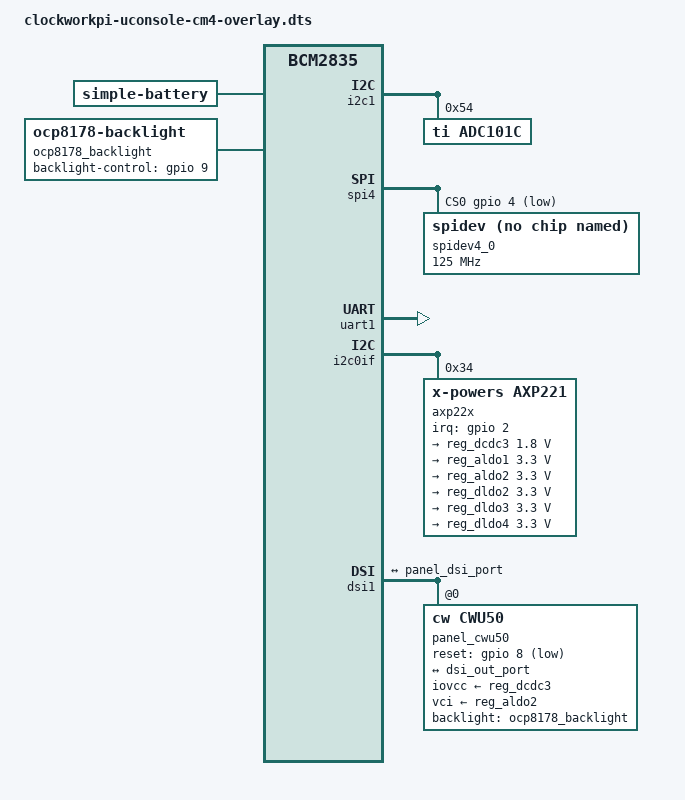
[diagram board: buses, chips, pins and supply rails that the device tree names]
// SPDX-License-Identifier: GPL-2.0-only
/dts-v1/;
/plugin/;

#include <dt-bindings/gpio/gpio.h>
#include <dt-bindings/interrupt-controller/irq.h>

/ {
	compatible = "brcm,bcm2835";

	/* uConsole ADC on the CM4 carrier I2C bus. */
	fragment@0 {
		target = <&i2c1>;

		__overlay__ {
			#address-cells = <1>;
			#size-cells = <0>;
			pinctrl-names = "default";
			pinctrl-0 = <&i2c1_pins>;
			status = "okay";

			adc101c: adc@54 {
				compatible = "ti,adc101c";
				reg = <0x54>;
				status = "okay";
			};
		};
	};

	/* Expansion SPI bus. */
	fragment@1 {
		target = <&spi4>;

		__overlay__ {
			pinctrl-names = "default";
			pinctrl-0 = <&spi4_pins &spi4_cs_pins>;
			cs-gpios = <&gpio 4 GPIO_ACTIVE_LOW>;
			status = "okay";

			spidev4_0: spidev@0 {
				compatible = "spidev";
				reg = <0>;
				#address-cells = <1>;
				#size-cells = <0>;
				spi-max-frequency = <125000000>;
				status = "okay";
			};
		};
	};

	/* Expansion UART. Kernel command-line policy is intentionally separate. */
	fragment@2 {
		target = <&uart1>;

		__overlay__ {
			pinctrl-names = "default";
			pinctrl-0 = <&uart1_pins>;
			status = "okay";
		};
	};

	fragment@3 {
		target = <&gpio>;

		__overlay__ {
			i2c1_pins: i2c1 {
				brcm,pins = <44 45>;
				brcm,function = <6>;
			};

			spi4_pins: spi4-pins {
				brcm,pins = <6 7>;
				brcm,function = <7>;
			};

			spi4_cs_pins: spi4-cs-pins {
				brcm,pins = <4>;
				brcm,function = <1>;
			};

			uart1_pins: uart1-pins {
				brcm,pins = <14 15>;
				brcm,function = <2>;
				brcm,pull = <0 2>;
			};
		};
	};

	/* AXP22x PMIC and uConsole power rails. */
	fragment@4 {
		target = <&i2c0if>;

		__overlay__ {
			#address-cells = <1>;
			#size-cells = <0>;
			pinctrl-0 = <&i2c0_pins>;
			pinctrl-names = "default";
			status = "okay";

			axp22x: pmic@34 {
				compatible = "x-powers,axp221";
				reg = <0x34>;
				interrupt-controller;
				#interrupt-cells = <1>;
				interrupt-parent = <&gpio>;
				interrupts = <2 IRQ_TYPE_EDGE_FALLING>;

				regulators {
					x-powers,dcdc-freq = <3000>;

					reg_dcdc3: dcdc3 {
						regulator-always-on;
						regulator-min-microvolt = <1800000>;
						regulator-max-microvolt = <1800000>;
						regulator-name = "sys-1v8";
					};

					reg_aldo1: aldo1 {
						regulator-always-on;
						regulator-min-microvolt = <3300000>;
						regulator-max-microvolt = <3300000>;
						regulator-name = "audio-vdd";
					};

					reg_aldo2: aldo2 {
						regulator-always-on;
						regulator-min-microvolt = <3300000>;
						regulator-max-microvolt = <3300000>;
						regulator-name = "display-vcc";
					};

					reg_dldo2: dldo2 {
						regulator-always-on;
						regulator-min-microvolt = <3300000>;
						regulator-max-microvolt = <3300000>;
						regulator-name = "dldo2";
					};

					reg_dldo3: dldo3 {
						regulator-always-on;
						regulator-min-microvolt = <3300000>;
						regulator-max-microvolt = <3300000>;
						regulator-name = "dldo3";
					};

					reg_dldo4: dldo4 {
						regulator-always-on;
						regulator-min-microvolt = <3300000>;
						regulator-max-microvolt = <3300000>;
						regulator-name = "dldo4";
					};
				};

				battery_power_supply: battery-power {
					compatible = "x-powers,axp221-battery-power-supply";
					monitored-battery = <&battery>;
				};

				ac_power_supply: ac-power {
					compatible = "x-powers,axp221-ac-power-supply";
				};
			};
		};
	};

	/* Preserve the proven CM4 I2C0 routing used by the PMIC. */
	fragment@5 {
		target = <&i2c0if>;

		__overlay__ {
			compatible = "brcm,bcm2708-i2c";
		};
	};

	fragment@6 {
		target-path = "/aliases";

		__overlay__ {
			i2c0 = "/soc/i2c@7e205000";
		};
	};

	/*
	 * Replaceable 2x18650 pack: defaults are fallbacks, not immutable
	 * characteristics of the uConsole carrier.
	 */
	fragment@7 {
		target-path = "/";

		__overlay__ {
			battery: battery {
				compatible = "simple-battery";
				device-chemistry = "lithium-ion";
				constant-charge-current-max-microamp = <2100000>;
				voltage-max-design-microvolt = <4200000>;
				re-charge-voltage-microvolt = <4000000>;
				voltage-min-design-microvolt = <3300000>;
				energy-full-design-microwatt-hours = <24790000>;
				charge-full-design-microamp-hours = <6700000>;
			};
		};
	};

	/* CWU50 panel on DSI1. */
	fragment@8 {
		target = <&dsi1>;

		__overlay__ {
			#address-cells = <1>;
			#size-cells = <0>;
			status = "okay";

			port {
				dsi_out_port: endpoint {
					remote-endpoint = <&panel_dsi_port>;
				};
			};

			panel_cwu50: panel@0 {
				compatible = "cw,cwu50";
				reg = <0>;
				reset-gpios = <&gpio 8 GPIO_ACTIVE_LOW>;
				backlight = <&ocp8178_backlight>;
				rotation = <90>;
				iovcc-supply = <&reg_dcdc3>;
				vci-supply = <&reg_aldo2>;
				status = "okay";

				port {
					panel_dsi_port: endpoint {
						remote-endpoint = <&dsi_out_port>;
					};
				};
			};
		};
	};

	/* OCP8178 backlight control on GPIO9. */
	fragment@9 {
		target-path = "/";

		__overlay__ {
			ocp8178_backlight: backlight {
				compatible = "ocp8178-backlight";
				backlight-control-gpios = <&gpio 9 GPIO_ACTIVE_HIGH>;

				/*
				 * Stage 3 expanded the user-visible range to 0..21.
				 * Level 15 maps to hardware index 16, preserving the
				 * legacy default level 5 -> hardware index 16.
				 */
				default-brightness = <15>;
			};
		};
	};

	/*
	 * Standard simple-battery properties only. Users can override fallback
	 * values to match the installed cells from config.txt.
	 */
	__overrides__ {
		batt_uah = <&battery>,"charge-full-design-microamp-hours:0";
		batt_uwh = <&battery>,"energy-full-design-microwatt-hours:0";
		vmin_uv = <&battery>,"voltage-min-design-microvolt:0";
	};
};
